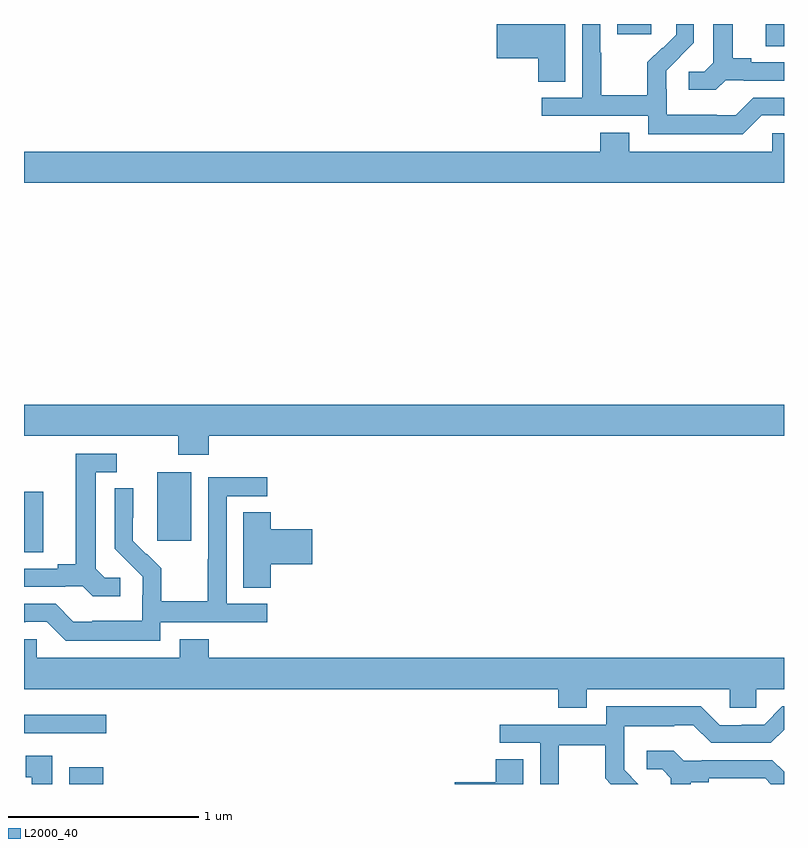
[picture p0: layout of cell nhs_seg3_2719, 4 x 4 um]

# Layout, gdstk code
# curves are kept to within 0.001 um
import gdstk
lib = gdstk.Library(unit=1e-6, precision=1e-09)
def R(c, l, rs):  # rectangles x0, y0, x1, y1
    for r in rs: c.add(gdstk.rectangle(r[:2], r[2:], *l))
def P(c, l, *ps):  # polygons
    for p in ps: c.add(gdstk.Polygon(p, *l))
L2000_40 = (2000, 40)

nhs_seg3_2719 = lib.new_cell('nhs_seg3_2719')
R(nhs_seg3_2719, L2000_40, [(251.237,716.4,251.416,716.488), (251,716.667,251.434,716.764), (251,717.619,251.101,717.939), (251.702,717.681,251.881,718.042), (254.903,720.283,255,720.4), (254.123,720.345,254.302,720.4)])
P(nhs_seg3_2719, L2000_40, [(254.883,719.919),(254.999,719.919),(255,719.916),(255,720.012),(254.838,720.012),(254.745,719.919),(254.645,719.919),(254.645,719.923),(254.382,719.923),(254.382,720.057),(254.38,720.057),(254.38,720.154),(254.526,720.302),(254.526,720.4),(254.432,720.4),(254.432,720.344),(254.361,720.273),(254.358,720.276),(254.281,720.199),(254.281,720.025),(254.037,720.025),(254.037,720.248),(254.034,720.248),(254.034,720.4),(253.938,720.4),(253.938,720.012),(253.725,720.012),(253.725,719.916),(254.286,719.916),(254.286,719.819),(254.783,719.819)],
  [(253.849,720.4),(253.488,720.4),(253.488,720.221),(253.706,720.221),(253.706,720.097),(253.849,720.097)],
  [(254.694,720.105),(254.788,720.105),(254.788,720.102),(255,720.102),(255,720.198),(254.827,720.198),(254.827,720.221),(254.731,720.221),(254.731,720.4),(254.627,720.4),(254.627,720.197),(254.58,720.15),(254.499,720.15),(254.499,720.053),(254.642,720.053)],
  [(255,719.826),(254.937,719.826),(254.937,719.728),(254.185,719.728),(254.185,719.827),(254.033,719.827),(254.033,719.728),(251,719.728),(251,719.564),(255,719.564)],
  [(251.972,718.232),(255,718.232),(255,718.396),(251,718.396),(251,718.232),(251.812,718.232),(251.812,718.133),(251.972,718.133)],
  [(251.506,717.486),(251.424,717.486),(251.377,717.533),(251.377,718.041),(251.488,718.041),(251.488,718.137),(251.273,718.137),(251.273,717.557),(251.177,717.557),(251.177,717.534),(251,717.534),(251,717.438),(251.216,717.438),(251.216,717.441),(251.31,717.441),(251.362,717.389),(251.506,717.389)],
  [(251.718,717.252),(252.28,717.252),(252.28,717.348),(252.066,717.348),(252.066,717.915),(252.28,717.915),(252.28,718.014),(251.97,718.014),(251.97,717.584),(251.968,717.584),(251.968,717.361),(251.723,717.361),(251.723,717.535),(251.646,717.612),(251.643,717.609),(251.573,717.68),(251.574,717.956),(251.478,717.956),(251.478,717.638),(251.624,717.49),(251.624,717.393),(251.622,717.393),(251.622,717.259),(251.359,717.259),(251.359,717.255),(251.259,717.255),(251.166,717.348),(251,717.348),(251,717.252),(251.006,717.252),(251.006,717.255),(251.121,717.255),(251.221,717.155),(251.718,717.155)],
  [(252.299,717.557),(252.517,717.557),(252.517,717.74),(252.299,717.74),(252.299,717.83),(252.155,717.83),(252.155,717.433),(252.299,717.433)],
  [(253.963,716.9),(254.715,716.9),(254.715,716.802),(254.853,716.802),(254.853,716.9),(255,716.9),(255,717.064),(251.972,717.064),(251.972,717.163),(251.819,717.163),(251.819,717.064),(251.067,717.064),(251.067,717.162),(251,717.162),(251,716.9),(253.811,716.9),(253.811,716.801),(253.963,716.801)],
  [(253.815,716.604),(254.059,716.604),(254.059,716.429),(254.088,716.4),(254.232,716.4),(254.158,716.474),(254.158,716.571),(254.16,716.571),(254.16,716.705),(254.423,716.705),(254.423,716.709),(254.523,716.709),(254.616,716.616),(254.931,716.616),(255,716.685),(255,716.808),(254.991,716.808),(254.895,716.712),(254.777,716.712),(254.777,716.709),(254.661,716.709),(254.561,716.809),(254.064,716.809),(254.064,716.712),(253.503,716.712),(253.503,716.616),(253.716,716.616),(253.716,716.4),(253.815,716.4)],
  [(254.509,716.408),(254.605,716.408),(254.605,716.43),(254.9,716.43),(254.93,716.4),(255,716.4),(255,716.464),(254.938,716.526),(254.566,716.526),(254.566,716.523),(254.472,716.523),(254.42,716.575),(254.277,716.575),(254.277,716.478),(254.358,716.478),(254.405,716.431),(254.405,716.4),(254.509,716.4)],
  [(251.149,716.548),(251.009,716.548),(251.009,716.435),(251.042,716.435),(251.042,716.4),(251.149,716.4)],
  [(253.627,716.531),(253.484,716.531),(253.484,716.408),(253.266,716.408),(253.266,716.4),(253.627,716.4)])

lib.write_gds('nhs_seg3_2719.gds')
